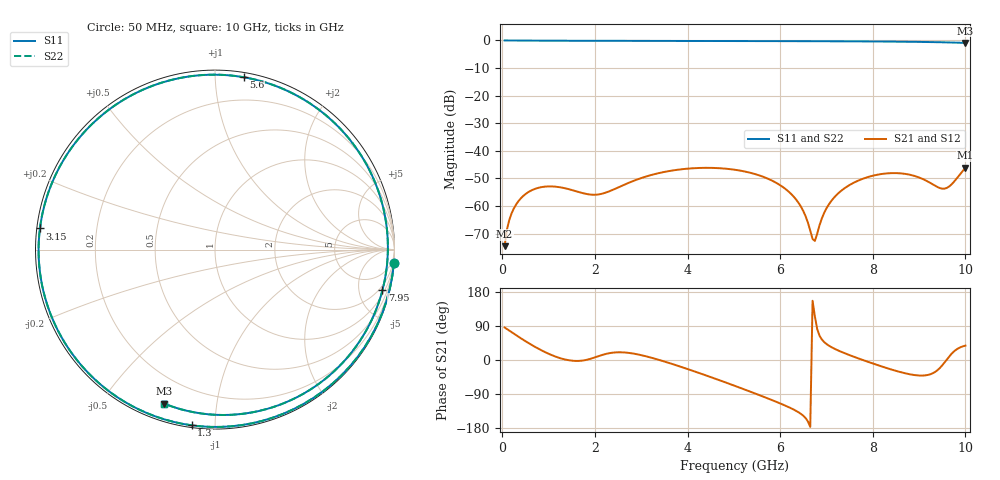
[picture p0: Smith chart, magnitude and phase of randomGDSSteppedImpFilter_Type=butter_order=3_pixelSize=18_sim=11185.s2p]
! freq	dB(S11)	phase(S11)	dB(S12)	phase(S12)
!  dB(S21)	phase(S21)	dB(S22)	phase(S22)
!S-par simulation data
#  GHz  S  DB  R 50
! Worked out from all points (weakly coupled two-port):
!   200 points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, 50 MHz to 10 GHz, reference 50 ohm
!   highest |S21| = -46.13 dB at 10 GHz (marker M1); lowest = -74.6 dB at 50 MHz (marker M2)
!   lowest |S11| = -0.9 dB at 10 GHz (marker M3), VSWR 19.76, Z = 3.85 - j36 ohm
!   |S11| at or under -10 dB: nowhere
!   |S22| runs from -0.9 to 0.0 dB; largest |S21 - S12| = 0
!   S11 on the Smith chart (normalised r, x): 50 MHz: 0, -27; 1.3 GHz: 0.01, -0.88; 3.15 GHz: 0.01, +0.06; 5.6 GHz: 0.03, +1.18; 7.95 GHz: 1.42, -8.16; 10 GHz: 0.08, -0.72
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0.05  -0.00 -4.2  -74.57 85.7  -74.57 85.7  -0.00 -4.2
0.15  -0.02 -12.6  -65.13 77.5  -65.13 77.5  -0.02 -12.6
0.4  -0.04 -33.0  -57.24 57.4  -57.24 57.4  -0.05 -33.0
0.85  -0.08 -67.4  -53.16 25.3  -53.16 25.3  -0.08 -67.4
1.3  -0.11 -97.5  -53.38 3.0  -53.38 3.0  -0.11 -97.5
1.75  -0.12 -123.5  -55.40 -1.2  -55.40 -1.2  -0.12 -123.5
2.4  -0.14 -155.3  -54.05 19.6  -54.05 19.6  -0.14 -155.3
3.15  -0.15 173.1  -49.09 8.3  -49.09 8.3  -0.15 173.1
3.4  -0.16 163.3  -48.01 -0.3  -48.01 -0.3  -0.16 163.3
4.25  -0.19 131.3  -46.22 -34.3  -46.22 -34.3  -0.18 131.3
5.05  -0.21 101.4  -46.94 -69.5  -46.94 -69.5  -0.21 101.4
5.6  -0.23 80.6  -49.21 -95.0  -49.21 -95.0  -0.23 80.6
6.35  -0.26 51.4  -57.79 -134.5  -57.79 -134.5  -0.26 51.4
6.55  -0.27 43.4  -63.73 -153.3  -63.73 -153.3  -0.26 43.4
6.7  -0.27 37.4  -71.96 156.3  -71.96 156.3  -0.27 37.4
6.75  -0.28 35.4  -72.66 114.8  -72.66 114.8  -0.27 35.4
6.95  -0.28 27.4  -62.50 47.4  -62.50 47.4  -0.28 27.4
7.2  -0.30 17.3  -56.31 28.1  -56.31 28.1  -0.30 17.3
7.95  -0.35 -13.6  -49.25 -7.1  -49.25 -7.1  -0.35 -13.6
8.35  -0.40 -30.4  -48.14 -23.2  -48.14 -23.2  -0.40 -30.4
9.55  -0.68 -84.5  -53.72 -6.4  -53.72 -6.4  -0.68 -84.5
10  -0.88 -108.2  -46.13 37.9  -46.13 37.9  -0.88 -108.3
